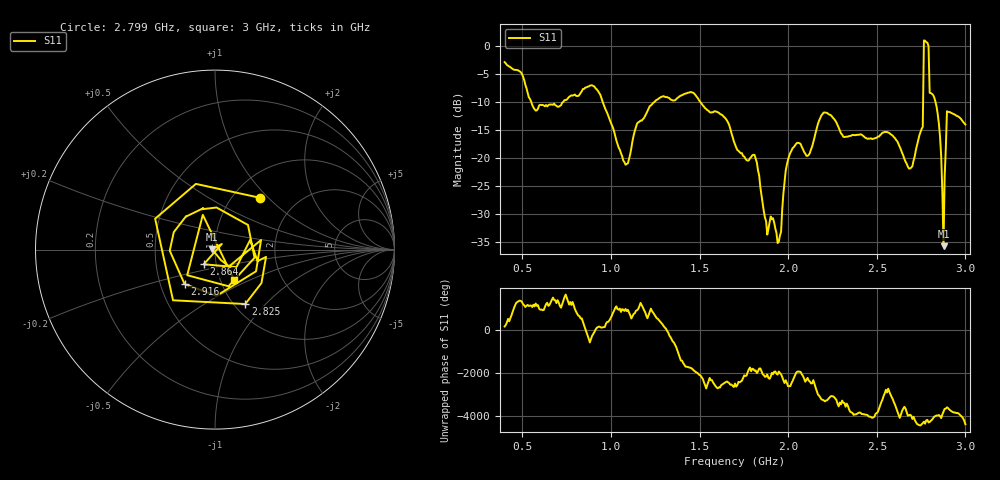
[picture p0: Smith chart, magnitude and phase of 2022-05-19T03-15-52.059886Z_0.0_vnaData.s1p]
!Created with skrf (http://scikit-rf.org).
# Hz S RI R 50.0
!freq ReS11 ImS11
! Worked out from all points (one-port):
!   401 points, 400 MHz to 3 GHz, reference 50 ohm
!   lowest |S11| = -35.8 dB at 2.877 GHz (marker M1), VSWR 1.03, Z = 48.4 + j0.169 ohm
!   |S11| at or under -10 dB: 550.7 MHz to 729 MHz (178.3 MHz wide, 27.9 % of centre); 953.9 MHz to 1.245 GHz (290.8 MHz wide, 26.5 % of centre); 1.505 GHz to 2.761 GHz (1.256 GHz wide, 58.9 % of centre) (the widest 3 of 4)
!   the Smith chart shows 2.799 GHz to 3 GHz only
!   S11 on the Smith chart (normalised r, x): 2.799 GHz: 1.33, +0.90; 2.825 GHz: 1.12, -0.77; 2.864 GHz: 0.87, -0.14; 2.916 GHz: 0.67, -0.27; 3 GHz: 1.16, -0.41
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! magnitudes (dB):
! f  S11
! 400 MHz  -2.8
! 569 MHz  -11.3
! 725 MHz  -10.1
! 907 MHz  -7.2
! 1.05 GHz  -18.5
! 1.089 GHz  -21.1
! 1.226 GHz  -10.6
! 1.375 GHz  -9.2
! 1.7 GHz  -17.6
! 1.81 GHz  -19.5
! 1.875 GHz  -31.3
! 1.947 GHz  -35.0
! 1.992 GHz  -21.2
! 2.025 GHz  -18.2
! 2.116 GHz  -19.5
! 2.207 GHz  -11.9
! 2.35 GHz  -16.0
! 2.571 GHz  -15.5
! 2.675 GHz  -21.5
! 2.747 GHz  -15.4
! 2.779 GHz  0.7
! 2.799 GHz  -8.3
! 2.825 GHz  -9.2
! 2.85 GHz  -13.9
! 2.864 GHz  -19.7
! 2.877 GHz  -35.8
! 2.916 GHz  -11.8
! 3 GHz  -14.0
